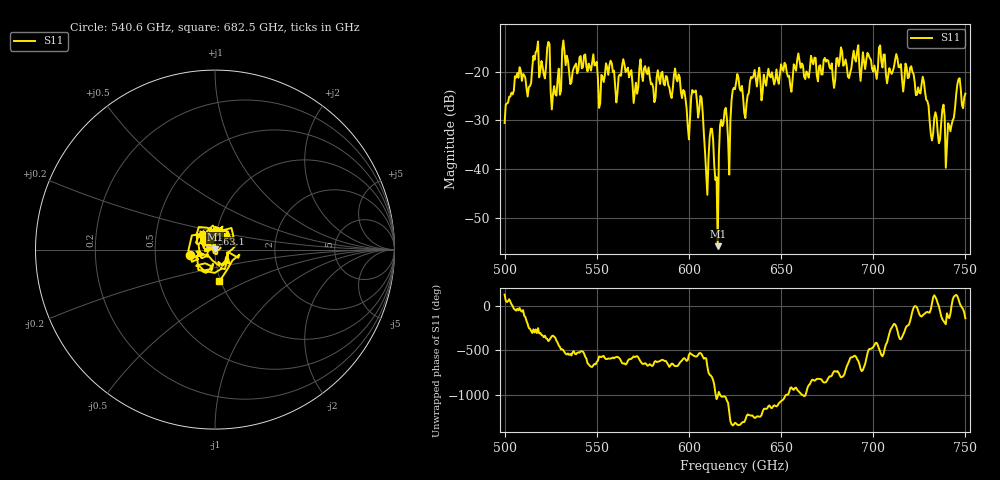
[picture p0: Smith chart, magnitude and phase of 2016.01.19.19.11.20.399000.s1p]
!Created with skrf (http://scikit-rf.org).
# GHz S RI R 50.0
!freq ReS11 ImS11
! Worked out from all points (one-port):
!   401 points, 500 GHz to 750 GHz, reference 50 ohm
!   lowest |S11| = -55.9 dB at 615.6 GHz (marker M1), VSWR 1.00, Z = 50.1 + j0.148 ohm
!   |S11| at or under -10 dB: start of sweep to end of sweep
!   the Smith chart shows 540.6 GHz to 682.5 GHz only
!   S11 on the Smith chart (normalised r, x): 540.6 GHz: 0.76, -0.05; 563.1 GHz: 0.95, +0.17; 682.5 GHz: 0.99, -0.36
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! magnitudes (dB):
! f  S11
! 500 GHz  -30.5
! 506.9 GHz  -20.2
! 513.1 GHz  -23.2
! 516.9 GHz  -16.0
! 523.1 GHz  -15.0
! 526.9 GHz  -22.9
! 531.2 GHz  -15.4
! 540.6 GHz  -17.0
! 562.5 GHz  -20.6
! 563.1 GHz  -20.8
! 593.8 GHz  -22.0
! 599.4 GHz  -31.2
! 606.2 GHz  -24.9
! 609.4 GHz  -40.9
! 611.9 GHz  -31.7
! 615.6 GHz  -55.9
! 618.1 GHz  -31.2
! 621.9 GHz  -41.1
! 625 GHz  -23.6
! 630.6 GHz  -29.5
! 635 GHz  -20.9
! 656.2 GHz  -21.6
! 682.5 GHz  -15.0
! 687.5 GHz  -20.2
! 718.8 GHz  -21.3
! 740.6 GHz  -30.6
! 746.2 GHz  -21.6
! 750 GHz  -24.5
